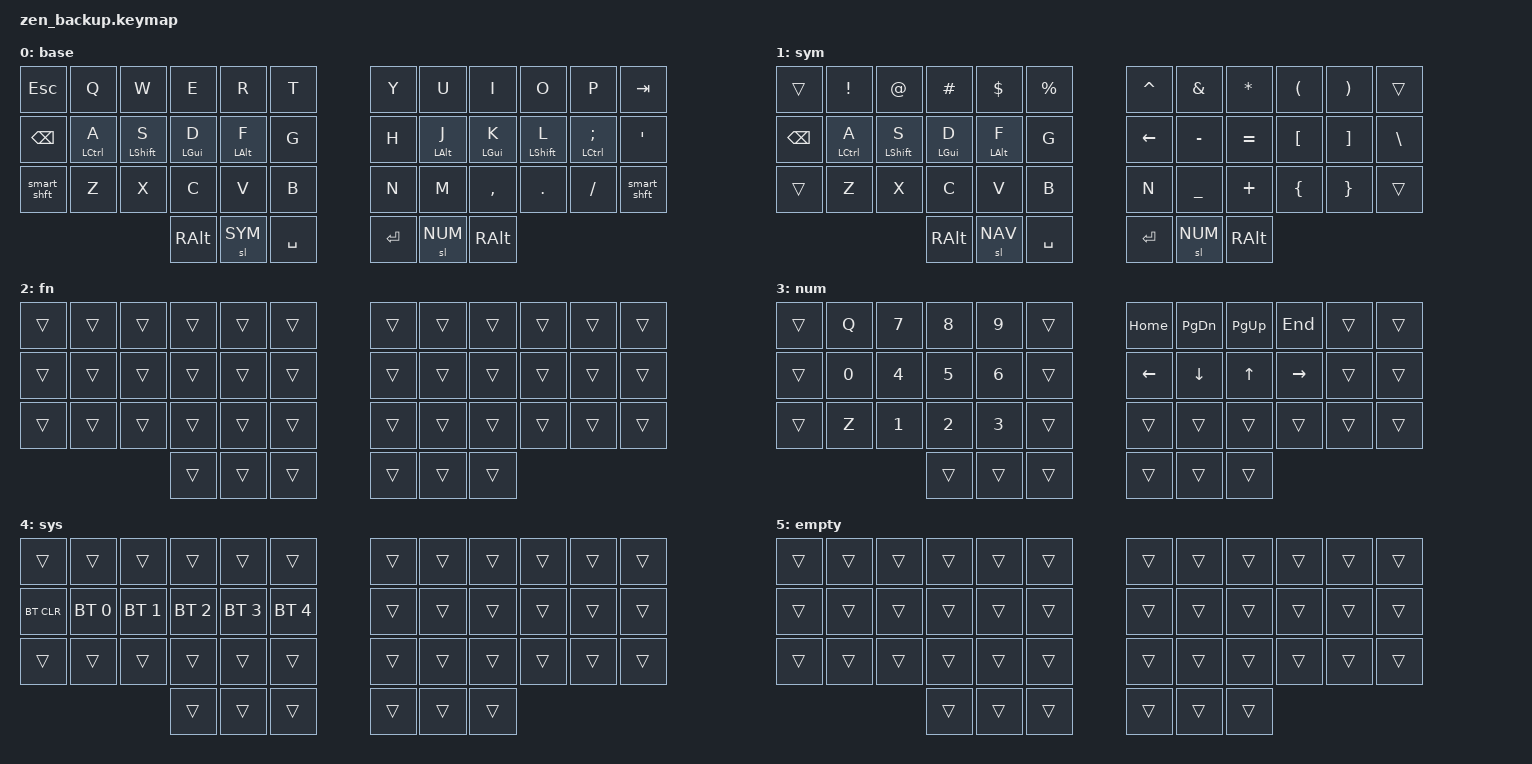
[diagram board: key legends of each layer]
/*                                      42 KEY MATRIX / LAYOUT MAPPING

  ╭────────────────────────┬────────────────────────╮ ╭─────────────────────────┬─────────────────────────╮
  │  0   1   2   3   4   5 │  6   7   8   9  10  11 │ │ LT5 LT4 LT3 LT2 LT1 LT0 │ RT0 RT1 RT2 RT3 RT4 RT5 │
  │ 12  13  14  15  16  17 │ 18  19  20  21  22  23 │ │ LM5 LM4 LM3 LM2 LM1 LM0 │ RM0 RM1 RM2 RM3 RM4 RM5 │
  │ 24  25  26  27  28  29 │ 30  31  32  33  34  35 │ │ LB5 LB4 LB3 LB2 LB1 LB0 │ RB0 RB1 RB2 RB3 RB4 RB5 │
  ╰───────────╮ 36  37  38 │ 39  40  41 ╭───────────╯ ╰───────────╮ LH2 LH1 LH0 │ RH0 RH1 RH2 ╭───────────╯
              ╰────────────┴────────────╯                         ╰─────────────┴─────────────╯             */
#include "../zmk-nodefree-config/keypos_def/keypos_42keys.h"

/* source ZMK helpers */
#include <behaviors.dtsi>
#include <dt-bindings/zmk/keys.h>

/* activate bluetooth */
#include <dt-bindings/zmk/bt.h>

#include "../zmk-nodefree-config/helper.h"

#define DEF 0
#define SYM 1
#define NUM 3
#define FN 2
#define SYS 4
#define EMPTY 5

#define XXX &none
#define ___ &trans

/* Global settings */

#define QUICK_TAP_MS 175

&sk {  // sticky-key config
    release-after-ms = <900>;  // release after 0.6s
    quick-release;             // no double capitalization when rolling keys
};

&sl {  // sticky-layer config
    ignore-modifiers;          // allow chording sticky mods & layers
};

&lt {  // layer-tap config
    flavor = "balanced";
    tapping-term-ms = <200>;
    quick-tap-ms = <QUICK_TAP_MS>;
};

/* Homerow mods */

#define KEYS_L LT0 LT1 LT2 LT3 LT4 LT5 LM0 LM1 LM2 LM3 LM4 LM5 LB0 LB1 LB2 LB3 LB4 LB5  // left hand
#define KEYS_R RT0 RT1 RT2 RT3 RT4 RT5 RM0 RM1 RM2 RM3 RM4 RM5 RB0 RB1 RB2 RB3 RB4 RB5  // right hand
#define THUMBS LH2 LH1 LH0 RH0 RH1 RH2                                                  // thumbs

#define MAKE_HRM(NAME, HOLD, TAP, TRIGGER_POS) \
    ZMK_BEHAVIOR(NAME, hold_tap, \
        flavor = "balanced"; \
        tapping-term-ms = <280>; \
        quick-tap-ms = <QUICK_TAP_MS>; \
        require-prior-idle-ms = <150>; \
        bindings = <HOLD>, <TAP>; \
        hold-trigger-key-positions = <TRIGGER_POS>; \
        hold-trigger-on-release; \
    )
MAKE_HRM(hml, &kp, &kp, KEYS_R THUMBS)  // left-hand HRMs
MAKE_HRM(hmr, &kp, &kp, KEYS_L THUMBS)  // right-hand HRMs

MAKE_HRM(hml_repeat, &kp, &key_repeat, KEYS_R THUMBS)  // used for HRM-combo
MAKE_HRM(hmr_lpar_lt, &kp, &lpar_lt, KEYS_L THUMBS)    // "    "   "   "
MAKE_HRM(hmr_rpar_gt, &kp, &rpar_gt, KEYS_L THUMBS)    // "    "   "   "

/* Nav cluster */

// long-tap action on hold, short-tap action on all interrupts
#define MT_CORE \
    flavor = "tap-preferred"; \
    tapping-term-ms = <220>; \
    quick-tap-ms = <220>; \
    hold-trigger-key-positions = <0>;

&mt { MT_CORE };
ZMK_BEHAVIOR(mt_home, hold_tap, bindings = <&masked_home>, <&kp>; MT_CORE)
ZMK_BEHAVIOR(mt_end,  hold_tap,  bindings = <&masked_end>, <&kp>; MT_CORE)

#define NAV_LEFT  &mt_home 0   LEFT    // tap: left  | long-tap: beginning of line
#define NAV_RIGHT &mt_end 0    RIGHT   // tap: right | long-tap: end       of line
#define NAV_UP    &mt LC(HOME) UP      // tap: up    | long-tap: beginning of document
#define NAV_DOWN  &mt LC(END)  DOWN    // tap: down  | long-tap: end       of document
#define NAV_BSPC  &mt LC(BSPC) BSPC    // tap: bspc  | long-tap: delete word backward
#define NAV_DEL   &mt LC(DEL)  DEL     // tap: del   | long-tap: delete word forward

// mask CTRL when holding left/right to avoid accidental jumps to beginning/end of document
#define MASK_MODS(NAME, MODS, BINDING) \
    ZMK_BEHAVIOR(NAME, mod_morph, \
        bindings = <BINDING>, <BINDING>; \
        mods = <MODS>; \
    )
MASK_MODS(masked_home, (MOD_LCTL), &kp HOME)
MASK_MODS(masked_end,  (MOD_LCTL), &kp END)

/* Caps-word, num-word and smart-mouse */

// tap: sticky-shift | shift + tap/ double-tap: caps-word | hold: shift
ZMK_BEHAVIOR(smart_shft, mod_morph,
    bindings = <&sk LSHFT>, <&caps_word>;
    mods = <(MOD_LSFT)>;
)
&caps_word {  // mods deactivate caps-word, requires PR #1451
    /delete-property/ ignore-modifiers;
};

// tap: num-word | double-tap: sticky num-layer | hold: num-layer
#define SMART_NUM &smart_num NUM 0
ZMK_BEHAVIOR(smart_num, hold_tap,
    flavor = "balanced";
    tapping-term-ms = <200>;
    quick-tap-ms = <QUICK_TAP_MS>;
    bindings = <&mo>, <&num_dance>;
)
ZMK_BEHAVIOR(num_dance, tap_dance,
    tapping-term-ms = <200>;
    bindings = <&num_word>, <&sl NUM>;  // reverse this for sticky-num on single tap
)
&num_word {  // num-word, requires PR #1451
    layers = <NUM>;
    continue-list = <BSPC DEL DOT COMMA PLUS MINUS STAR FSLH EQUAL>;
};

// smart-mouse, requires PR #1366
ZMK_BEHAVIOR(smart_mouse, tri_state,
    bindings = <&tog MOUSE>, <&none>, <&tog MOUSE>;
    ignored-key-positions = <LT1 LT3 RT1 RT2 RT3 RM1 RM2 RM3 RH0 RH1>;
    ignored-layers = <MOUSE>;
)

/* Custom behaviors */

// Alt+Tab swapper, requires PR #1366
ZMK_BEHAVIOR(swapper, tri_state,
    bindings = <&kt LALT>, <&kp TAB>, <&kt LALT>;
    ignored-key-positions = <LT2>;
)

// Sticky layer + sticky shift (workaround for issue #1421)
ZMK_BEHAVIOR(sls, sticky_key,
    release-after-ms = <1000>;
    bindings = <&uc_shift>;
    ignore-modifiers;
)
ZMK_BEHAVIOR(uc_shift, macro,
    wait-ms = <0>;
    tap-ms = <1>;
    bindings = <&macro_press &mo UC &kp LSHFT>
             , <&macro_pause_for_release>
             , <&macro_release &mo UC &kp LSHFT>;
)

// tap: comma | shift + tap: semicolon | ctrl + shift + tap: <
ZMK_BEHAVIOR(comma_morph, mod_morph,
    mods = <(MOD_LSFT|MOD_RSFT)>;
    bindings = <&kp COMMA>, <&comma_inner_morph>;
)
ZMK_BEHAVIOR(comma_inner_morph, mod_morph,
    bindings = <&kp SEMICOLON>, <&kp LESS_THAN>;
    mods = <(MOD_LCTL|MOD_RCTL)>;
)

// tap: dot | shift + tap: colon | ctrl + shift + tap: >
ZMK_BEHAVIOR(dot_morph, mod_morph,
    bindings = <&kp DOT>, <&dot_inner_morph>;
    mods = <(MOD_LSFT|MOD_RSFT)>;
)
ZMK_BEHAVIOR(dot_inner_morph, mod_morph,
    bindings = <&kp COLON>, <&kp GREATER_THAN>;
    mods = <(MOD_LCTL|MOD_RCTL)>;
)

// tap: qmark | shift + tap: excl
ZMK_BEHAVIOR(qexcl, mod_morph,
    bindings = <&kp QMARK>, <&kp EXCL>;
    mods = <(MOD_LSFT|MOD_RSFT)>;
)

// tap: space | shift + tap: dot -> space -> sticky shift | hold: activate layer
ZMK_BEHAVIOR(lt_spc, hold_tap,
    flavor = "balanced";
    tapping-term-ms = <200>;
    quick-tap-ms = <QUICK_TAP_MS>;
    bindings = <&mo>, <&spc_morph>;
)
ZMK_BEHAVIOR(spc_morph, mod_morph,
    bindings = <&kp SPACE>, <&dot_spc>;
    mods = <(MOD_LSFT|MOD_RSFT)>;
)
ZMK_BEHAVIOR(dot_spc, macro,
    wait-ms = <0>;
    tap-ms = <5>;
    bindings = <&kp DOT &kp SPACE &sk LSHFT>;
)

// tap: backspace | lshft + tap: delete | rshft + tap: shift-delete
ZMK_BEHAVIOR(bs_del, mod_morph,
    bindings = <&kp BSPC>, <&kp DEL>;
    mods = <(MOD_LSFT|MOD_RSFT)>;
    keep-mods = <MOD_RSFT>;
)

// tap: left-parenthesis | shft + tap: less-than
ZMK_BEHAVIOR(lpar_lt, mod_morph,
    bindings = <&kp LPAR>, <&kp LT>;
    mods = <(MOD_LSFT|MOD_RSFT)>;
)

// tap: right-parenthesis | shft + tap: greater-than
ZMK_BEHAVIOR(rpar_gt, mod_morph,
    bindings = <&kp RPAR>, <&kp GT>;
    mods = <(MOD_LSFT|MOD_RSFT)>;
)

// tap: copy | double-tap: cut
ZMK_BEHAVIOR(copy_cut, tap_dance,
    tapping-term-ms = <200>;
    bindings = <&kp LC(INS)>, <&kp LC(X)>;
)

// Windows sleep key
ZMK_BEHAVIOR(win_sleep, macro,
    wait-ms = <500>;
    tap-ms = <50>;
    bindings = <&kp LG(X) &kp U &kp S>;
)

// misc aliases
#define CANCEL      &kp K_CANCEL             // cancel caps-word, num-word and smart-mouse
#define DSK_PREV    &hmr RSHFT LG(LC(LEFT))  // previous desktop
#define DSK_NEXT    &hmr LALT LG(LC(RIGHT))  // next     desktop
#define PIN_WIN     &kp LG(LC(LS(Q)))        // pin window across desktops
#define PIN_APP     &kp LG(LC(LS(A)))        // pin application across desktops
#define DSK_MGR     &kp LA(GRAVE)            // desktop manager
#define VOL_DOWN    &hmr LCTRL C_VOL_DN

/* Keymap */

ZMK_CONDITIONAL_LAYER(SYM NUM, SYS)  // SYM + NUM --> SYS

ZMK_LAYER(base,
// ╭─────────────┬─────────────┬─────────────┬─────────────┬─────────────┬─────────────╮  ╭─────────────┬─────────────┬─────────────┬─────────────┬─────────────┬─────────────╮
     &kp ESC       &kp Q         &kp W         &kp E         &kp R         &kp T            &kp Y         &kp U         &kp I         &kp O         &kp P         &kp TAB
// ├─────────────┼─────────────┼─────────────┼─────────────┼─────────────┼─────────────┤  ├─────────────┼─────────────┼─────────────┼─────────────┼─────────────┼─────────────┤
     &kp BSPC      &hml LCTRL A  &hml LSHFT S  &hml LGUI D   &hml LALT  F  &kp G            &kp H         &hmr LALT J   &hmr LGUI K   &hmr LSHFT L  &hmr LCTRL SEMI &kp SQT
// ├─────────────┼─────────────┼─────────────┼─────────────┼─────────────┼─────────────┤  ├─────────────┼─────────────┼─────────────┼─────────────┼─────────────┼─────────────┤
     &smart_shft   &kp Z         &kp X         &kp C         &kp V         &kp B            &kp N         &kp M         &kp COMMA     &kp DOT       &kp FSLH      &smart_shft
// ╰─────────────┴─────────────┴─────────────┼─────────────┼─────────────┼─────────────┤  ├─────────────┼─────────────┼─────────────┼─────────────┴─────────────┴─────────────╯
                                               &kp RALT      &sl SYM       &kp SPACE        &kp ENTER     &sl NUM       &kp RALT
//                                           ╰─────────────┴─────────────┴─────────────╯  ╰─────────────┴─────────────┴─────────────╯
)

ZMK_LAYER(sym,
// ╭─────────────┬─────────────┬─────────────┬─────────────┬─────────────┬─────────────╮  ╭─────────────┬─────────────┬─────────────┬─────────────┬─────────────┬─────────────╮
     ___           &kp EXCL      &kp AT        &kp HASH      &kp DOLLAR    &kp PERCENT      &kp CARET     &kp AMPS      &kp ASTRK     &kp LPAR      &kp RPAR      ___
// ├─────────────┼─────────────┼─────────────┼─────────────┼─────────────┼─────────────┤  ├─────────────┼─────────────┼─────────────┼─────────────┼─────────────┼─────────────┤
     &kp BSPC      &hml LCTRL A  &hml LSHFT S  &hml LGUI D   &hml LALT  F  &kp G            &kp LEFT      &kp MINUS     &kp EQUAL     &kp LBKT      &kp RBKT      &kp BSLH
// ├─────────────┼─────────────┼─────────────┼─────────────┼─────────────┼─────────────┤  ├─────────────┼─────────────┼─────────────┼─────────────┼─────────────┼─────────────┤
     ___           &kp Z         &kp X         &kp C         &kp V         &kp B            &kp N         &kp UNDER     &kp PLUS      &kp LBRC      &kp RBRC      ___
// ╰─────────────┴─────────────┴─────────────┼─────────────┼─────────────┼─────────────┤  ├─────────────┼─────────────┼─────────────┼─────────────┴─────────────┴─────────────╯
                                               &kp RALT      &sl NAV       &kp SPACE        &kp ENTER     &sl NUM       &kp RALT
//                                           ╰─────────────┴─────────────┴─────────────╯  ╰─────────────┴─────────────┴─────────────╯
)

ZMK_LAYER(fn,
// ╭─────────────┬─────────────┬─────────────┬─────────────┬─────────────┬─────────────╮  ╭─────────────┬─────────────┬─────────────┬─────────────┬─────────────┬─────────────╮
     ___           ___           ___           ___           ___           ___              ___           ___           ___           ___           ___           ___
// ├─────────────┼─────────────┼─────────────┼─────────────┼─────────────┼─────────────┤  ├─────────────┼─────────────┼─────────────┼─────────────┼─────────────┼─────────────┤
     ___           ___           ___           ___           ___           ___              ___           ___           ___           ___           ___           ___
// ├─────────────┼─────────────┼─────────────┼─────────────┼─────────────┼─────────────┤  ├─────────────┼─────────────┼─────────────┼─────────────┼─────────────┼─────────────┤
     ___           ___           ___           ___           ___           ___              ___           ___           ___           ___           ___           ___
// ╰─────────────┴─────────────┴─────────────┼─────────────┼─────────────┼─────────────┤  ├─────────────┼─────────────┼─────────────┼─────────────┴─────────────┴─────────────╯
                                               ___           ___           ___              ___           ___           ___
//                                           ╰─────────────┴─────────────┴─────────────╯  ╰─────────────┴─────────────┴─────────────╯
)

ZMK_LAYER(num,
// ╭─────────────┬─────────────┬─────────────┬─────────────┬─────────────┬─────────────╮  ╭─────────────┬─────────────┬─────────────┬─────────────┬─────────────┬─────────────╮
     ___           &kp Q         &kp N7        &kp N8        &kp N9        ___              &kp HOME      &kp PG_DN     &kp PG_UP     &kp END       ___           ___
// ├─────────────┼─────────────┼─────────────┼─────────────┼─────────────┼─────────────┤  ├─────────────┼─────────────┼─────────────┼─────────────┼─────────────┼─────────────┤
     ___           &kp N0        &kp N4        &kp N5        &kp N6        ___              &kp LEFT      &kp  DOWN     &kp  UP       &kp RIGHT     ___           ___
// ├─────────────┼─────────────┼─────────────┼─────────────┼─────────────┼─────────────┤  ├─────────────┼─────────────┼─────────────┼─────────────┼─────────────┼─────────────┤
     ___           &kp Z         &kp N1        &kp N2        &kp N3        ___              ___           ___           ___           ___           ___           ___
// ╰─────────────┴─────────────┴─────────────┼─────────────┼─────────────┼─────────────┤  ├─────────────┼─────────────┼─────────────┼─────────────┴─────────────┴─────────────╯
                                               ___           ___           ___              ___           ___           ___
//                                           ╰─────────────┴─────────────┴─────────────╯  ╰─────────────┴─────────────┴─────────────╯
)

ZMK_LAYER(sys,
// ╭─────────────┬─────────────┬─────────────┬─────────────┬─────────────┬─────────────╮  ╭─────────────┬─────────────┬─────────────┬─────────────┬─────────────┬─────────────╮
     ___           ___           ___           ___           ___           ___              ___           ___           ___           ___           ___           ___
// ├─────────────┼─────────────┼─────────────┼─────────────┼─────────────┼─────────────┤  ├─────────────┼─────────────┼─────────────┼─────────────┼─────────────┼─────────────┤
     &bt BT_CLR    &bt BT_SEL 0  &bt BT_SEL 1  &bt BT_SEL 2  &bt BT_SEL 3  &bt BT_SEL 4     ___           ___           ___           ___           ___           ___
// ├─────────────┼─────────────┼─────────────┼─────────────┼─────────────┼─────────────┤  ├─────────────┼─────────────┼─────────────┼─────────────┼─────────────┼─────────────┤
     ___           ___           ___           ___           ___           ___              ___           ___           ___           ___           ___           ___
// ╰─────────────┴─────────────┴─────────────┼─────────────┼─────────────┼─────────────┤  ├─────────────┼─────────────┼─────────────┼─────────────┴─────────────┴─────────────╯
                                               ___           ___           ___              ___           ___           ___
//                                           ╰─────────────┴─────────────┴─────────────╯  ╰─────────────┴─────────────┴─────────────╯
)

ZMK_LAYER(empty,
// ╭─────────────┬─────────────┬─────────────┬─────────────┬─────────────┬─────────────╮  ╭─────────────┬─────────────┬─────────────┬─────────────┬─────────────┬─────────────╮
     ___           ___           ___           ___           ___           ___              ___           ___           ___           ___           ___           ___
// ├─────────────┼─────────────┼─────────────┼─────────────┼─────────────┼─────────────┤  ├─────────────┼─────────────┼─────────────┼─────────────┼─────────────┼─────────────┤
     ___           ___           ___           ___           ___           ___              ___           ___           ___           ___           ___           ___
// ├─────────────┼─────────────┼─────────────┼─────────────┼─────────────┼─────────────┤  ├─────────────┼─────────────┼─────────────┼─────────────┼─────────────┼─────────────┤
     ___           ___           ___           ___           ___           ___              ___           ___           ___           ___           ___           ___
// ╰─────────────┴─────────────┴─────────────┼─────────────┼─────────────┼─────────────┤  ├─────────────┼─────────────┼─────────────┼─────────────┴─────────────┴─────────────╯
                                               ___           ___           ___              ___           ___           ___
//                                           ╰─────────────┴─────────────┴─────────────╯  ╰─────────────┴─────────────┴─────────────╯
)

/* vim: set ft=c tw=174: */
